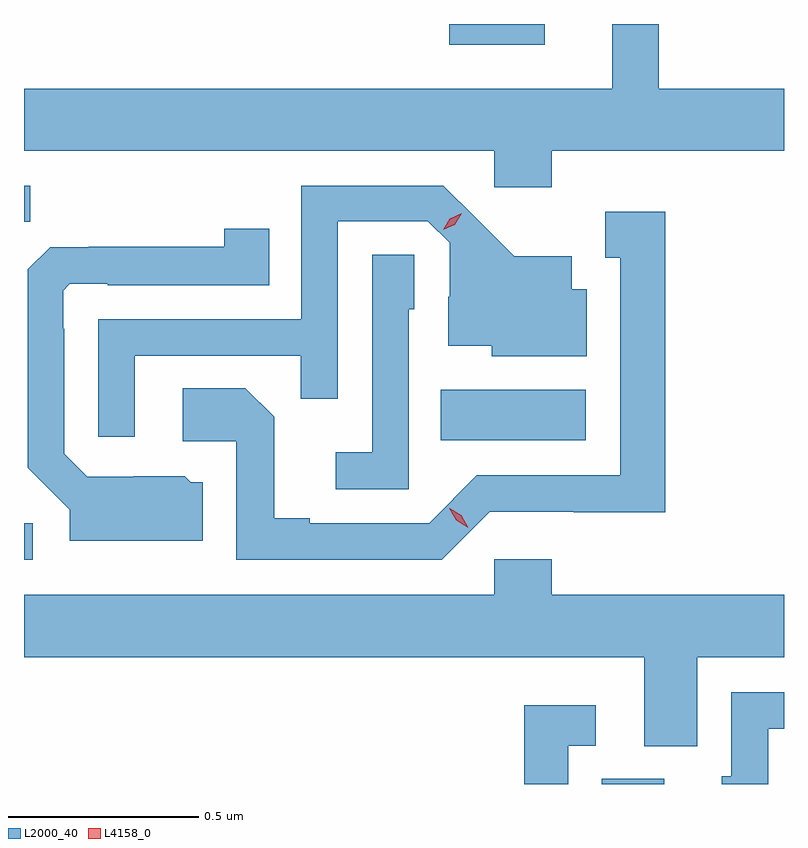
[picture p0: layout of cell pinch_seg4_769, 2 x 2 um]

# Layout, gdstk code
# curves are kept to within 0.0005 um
import gdstk
lib = gdstk.Library(unit=1e-6, precision=1e-09)
def R(c, l, rs):  # rectangles x0, y0, x1, y1
    for r in rs: c.add(gdstk.rectangle(r[:2], r[2:], *l))
def P(c, l, *ps):  # polygons
    for p in ps: c.add(gdstk.Polygon(p, *l))
L2000_40 = (2000, 40)
L4158_0 = (4158, 0)

pinch_seg4_769 = lib.new_cell('pinch_seg4_769')
R(pinch_seg4_769, L2000_40, [(772.046,816.466,772.21,816.48), (770.525,817.056,770.548,817.152), (771.622,817.37,772.003,817.504), (770.525,817.945,770.541,818.04), (771.644,818.411,771.895,818.466)])
P(pinch_seg4_769, L2000_40, [(771.914,818.132),(772.525,818.132),(772.525,818.296),(772.195,818.296),(772.195,818.466),(772.073,818.466),(772.073,818.296),(770.525,818.296),(770.525,818.132),(771.762,818.132),(771.762,818.037),(771.914,818.037)],
  [(770.817,817.593),(771.253,817.593),(771.253,817.48),(771.351,817.48),(771.351,817.947),(771.588,817.947),(771.645,817.89),(771.645,817.748),(771.641,817.748),(771.641,817.619),(771.756,817.619),(771.756,817.592),(772.006,817.592),(772.006,817.768),(771.967,817.768),(771.967,817.855),(771.815,817.855),(771.628,818.04),(771.255,818.04),(771.255,817.689),(770.721,817.689),(770.721,817.38),(770.817,817.38)],
  [(771.75,817.182),(771.972,817.182),(771.972,817.181),(772.213,817.181),(772.213,817.972),(772.055,817.972),(772.055,817.851),(772.094,817.851),(772.094,817.278),(771.717,817.278),(771.591,817.152),(771.277,817.152),(771.277,817.165),(771.183,817.165),(771.183,817.432),(771.107,817.508),(770.943,817.508),(770.943,817.368),(771.084,817.368),(771.084,817.056),(771.624,817.056)],
  [(770.995,817.26),(770.964,817.26),(770.948,817.276),(770.814,817.276),(770.814,817.275),(770.691,817.275),(770.631,817.335),(770.631,817.664),(770.628,817.664),(770.628,817.764),(770.646,817.782),(770.746,817.782),(770.746,817.779),(771.17,817.779),(771.17,817.927),(771.052,817.927),(771.052,817.88),(770.695,817.88),(770.695,817.879),(770.594,817.879),(770.535,817.82),(770.535,817.298),(770.645,817.188),(770.645,817.106),(770.995,817.106)],
  [(771.537,817.716),(771.552,817.716),(771.552,817.859),(771.441,817.859),(771.441,817.339),(771.345,817.339),(771.345,817.242),(771.537,817.242)],
  [(772.297,816.8),(772.525,816.8),(772.525,816.964),(771.914,816.964),(771.914,817.057),(771.762,817.057),(771.762,816.964),(770.525,816.964),(770.525,816.8),(772.157,816.8),(772.157,816.565),(772.297,816.565)],
  [(772.483,816.612),(772.525,816.612),(772.525,816.708),(772.386,816.708),(772.386,816.486),(772.361,816.486),(772.361,816.466),(772.483,816.466)],
  [(771.957,816.567),(772.03,816.567),(772.03,816.673),(771.841,816.673),(771.841,816.466),(771.957,816.466)])
P(pinch_seg4_769, L4158_0, [(771.694,817.14),(771.662,817.16),(771.644,817.192),(771.644,817.192),(771.645,817.192),(771.676,817.173),(771.694,817.141),(771.694,817.14)],
  [(771.628,817.924),(771.628,817.924),(771.646,817.953),(771.677,817.968),(771.677,817.968),(771.677,817.968),(771.659,817.938),(771.628,817.924)])

lib.write_gds('pinch_seg4_769.gds')
